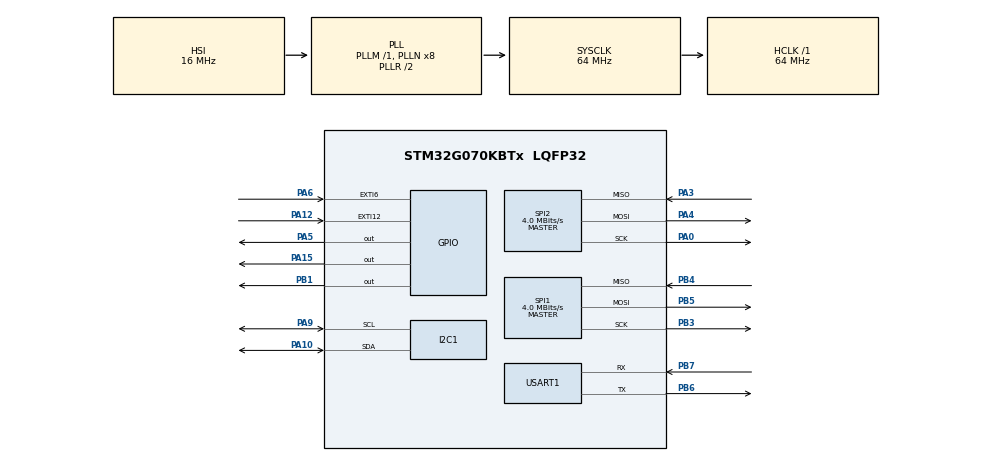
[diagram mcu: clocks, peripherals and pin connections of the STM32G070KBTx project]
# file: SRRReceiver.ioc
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I2C1.OwnAddress=0x20
I2C1.Timing=0x10707DBC
Mcu.Family=STM32G0
Mcu.Name=STM32G070KBTx
Mcu.Package=LQFP32
NVIC.EXTI4_15_IRQn=true\:0\:0\:false\:false\:true\:true\:true\:false
NVIC.I2C1_IRQn=true\:0\:0\:false\:false\:true\:true\:true\:true
PA0.Mode=Full_Duplex_Master
PA0.Signal=SPI2_SCK
PA10.Mode=I2C
PA10.Signal=I2C1_SDA
PA12\ [PA10].GPIO_ModeDefaultEXTI=GPIO_MODE_IT_FALLING
PA12\ [PA10].GPIO_PuPd=GPIO_PULLUP
PA12\ [PA10].Signal=GPXTI12
PA13.Mode=Serial_Wire
PA13.Signal=SYS_SWDIO
PA14-BOOT0.Mode=Serial_Wire
PA14-BOOT0.Signal=SYS_SWCLK
PA15.PinState=GPIO_PIN_SET
PA15.Signal=GPIO_Output
PA3.Mode=Full_Duplex_Master
PA3.Signal=SPI2_MISO
PA4.Mode=Full_Duplex_Master
PA4.Signal=SPI2_MOSI
PA5.PinState=GPIO_PIN_SET
PA5.Signal=GPIO_Output
PA6.GPIO_ModeDefaultEXTI=GPIO_MODE_IT_FALLING
PA6.GPIO_PuPd=GPIO_PULLUP
PA6.Signal=GPXTI6
PA9.Mode=I2C
PA9.Signal=I2C1_SCL
PB1.Signal=GPIO_Output
PB3.Mode=Full_Duplex_Master
PB3.Signal=SPI1_SCK
PB4.Mode=Full_Duplex_Master
PB4.Signal=SPI1_MISO
PB5.Mode=Full_Duplex_Master
PB5.Signal=SPI1_MOSI
PB6.Mode=Asynchronous
PB6.Signal=USART1_TX
PB7.Mode=Asynchronous
PB7.Signal=USART1_RX
ProjectManager.HeapSize=0x200
ProjectManager.StackSize=0x400
ProjectManager.TargetToolchain=STM32CubeIDE
RCC.ADCFreq_Value=64000000
RCC.AHBFreq_Value=64000000
RCC.CortexFreq_Value=64000000
RCC.EXTERNAL_CLOCK_VALUE=48000
RCC.HCLKFreq_Value=64000000
RCC.HSE_VALUE=8000000
RCC.HSI_VALUE=16000000
RCC.LSE_VALUE=32768
RCC.SYSCLKFreq_VALUE=64000000
RCC.SYSCLKSource=RCC_SYSCLKSOURCE_PLLCLK
RCC.VCOOutputFreq_Value=128000000
SPI1.BaudRatePrescaler=SPI_BAUDRATEPRESCALER_16
SPI1.CalculateBaudRate=4.0 MBits/s
SPI1.DataSize=SPI_DATASIZE_8BIT
SPI1.Direction=SPI_DIRECTION_2LINES
SPI1.Mode=SPI_MODE_MASTER
SPI1.VirtualType=VM_MASTER
SPI2.BaudRatePrescaler=SPI_BAUDRATEPRESCALER_16
SPI2.CalculateBaudRate=4.0 MBits/s
SPI2.DataSize=SPI_DATASIZE_8BIT
SPI2.Direction=SPI_DIRECTION_2LINES
SPI2.Mode=SPI_MODE_MASTER
SPI2.VirtualType=VM_MASTER
USART1.VirtualMode-Asynchronous=VM_ASYNC
board=custom

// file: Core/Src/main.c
/* USER CODE BEGIN Header */
/**
  ******************************************************************************
  * @file           : main.c
  * @brief          : Main program body
  ******************************************************************************
  * @attention
  *
  * Copyright (c) 2023 STMicroelectronics.
  * All rights reserved.
  *
  * This software is licensed under terms that can be found in the LICENSE file
  * in the root directory of this software component.
  * If no LICENSE file comes with this software, it is provided AS-IS.
  *
  ******************************************************************************
  ******************************************************************************
  */
/* USER CODE END Header */
#include "main.h"

/* USER CODE BEGIN Includes */
#include "CC2500.h"
#include <stdbool.h>
#include "I2CSlave.h"
#include <string.h>
#include "ErrorLog.h"
#include "Radio.h"

//#define COUNTOF(__BUFFER__)   (sizeof(__BUFFER__) / sizeof(*(__BUFFER__)))

/* USER CODE END Includes */

I2C_HandleTypeDef hi2c1;

SPI_HandleTypeDef hspi1;
SPI_HandleTypeDef hspi2;

UART_HandleTypeDef huart1;

/* USER CODE BEGIN PV */
bool volatile isInitialized = false;
/* USER CODE END PV */

void SystemClock_Config(void);
static void MX_GPIO_Init(void);
static void MX_USART1_UART_Init(void);
static void MX_I2C1_Init(void);
static void MX_SPI1_Init(void);
static void MX_SPI2_Init(void);
/* USER CODE BEGIN PFP */
static bool EnableI2CListen(void);
/* USER CODE END PFP */

int main(void)
{

  /* MCU Configuration--------------------------------------------------------*/

  /* Reset of all peripherals, Initializes the Flash interface and the Systick. */
  HAL_Init();

  /* Configure the system clock */
  SystemClock_Config();

  /* Initialize all configured peripherals */
  MX_GPIO_Init();
  MX_USART1_UART_Init();
  MX_I2C1_Init();
  MX_SPI1_Init();
  MX_SPI2_Init();
  /* USER CODE BEGIN 2 */

  /* Log the reset cause at boot so a reset storm (Error_Handler ->
   * HAL_NVIC_SystemReset) can be told apart from a normal power-on. Sent to the
   * UART unconditionally (terminal) and stored via ErrorLog_log (I2C). */
  /*{
    const char * cause;
    if      (RCC->CSR & RCC_CSR_SFTRSTF)  cause = "SOFTWARE reset";
    else if (RCC->CSR & RCC_CSR_PINRSTF)  cause = "PIN reset";
    else if (RCC->CSR & RCC_CSR_IWDGRSTF) cause = "IWDG reset";
    else if (RCC->CSR & RCC_CSR_WWDGRSTF) cause = "WWDG reset";
    else if (RCC->CSR & RCC_CSR_OBLRSTF)  cause = "Option-byte reset";
    else if (RCC->CSR & RCC_CSR_LPWRRSTF) cause = "Low-power reset";
    else                                  cause = "POR/BOR (power-on)";
    char rstMsg[64];
    sprintf(rstMsg, "Boot cause: %s (CSR=0x%08lX)\r\n", cause, (unsigned long)RCC->CSR);
    HAL_UART_Transmit(&huart1, (uint8_t *)rstMsg, strlen(rstMsg), 100);
    ErrorLog_log("boot", rstMsg);
    __HAL_RCC_CLEAR_RESET_FLAGS();
  }
  */

  HAL_GPIO_WritePin(GPIOA, RedChannelChipSelectPortPin.GPIO_Pin, GPIO_PIN_SET);
  HAL_GPIO_WritePin(GPIOA, BlueChannelChipSelectPortPin.GPIO_Pin, GPIO_PIN_SET);

  // Configure both the RED and BLUE Channel chip.
  InitializeBothCC2500();
  HAL_GPIO_WritePin(GPIOA, RedChannelChipSelectPortPin.GPIO_Pin, GPIO_PIN_SET);
  HAL_GPIO_WritePin(GPIOA, BlueChannelChipSelectPortPin.GPIO_Pin, GPIO_PIN_SET);

  // Make sure the IRQ to the NanoPi is not asserted
  IRQLineHandler_ClearErrorMessagesExist();
  IRQLineHandler_ClearPunchesExist();
  HAL_Delay(1);

  if (!EnableI2CListen())
  {
	  // Tried multiple times
	  HAL_I2C_DeInit(&hi2c1);
	  HAL_I2C_Init(&hi2c1);
	  if (!EnableI2CListen())
	  {
		  HAL_NVIC_SystemReset();
	  }
  }

  // Only BLUE channel enabled
  I2CSlave_hardwareFeaturesEnableDisable = 0x02;
  /* PA6 PA12 is interrupt from CC2500
   * To avoid them being triggered too early,
   * before it has been configured we enable irq here
   * (by default a clock is on these CC2500 pins)
   * instead of in MX_GPIO_Init() */
  HAL_NVIC_EnableIRQ(EXTI4_15_IRQn);
  //HAL_Delay(1);
  //HAL_NVIC_DisableIRQ(EXTI4_15_IRQn); // for testing if we can get i2c working again
  isInitialized = true;

  /* USER CODE END 2 */

  /* Infinite loop */
  /* USER CODE BEGIN WHILE */
  while (1)
  {

	  // You can try to reset the peripheral to see if it frees up. You can reset the peripheral with the I2C_CR1_SWRST bit.
	  if (hi2c1.State == HAL_I2C_STATE_READY) {
		  if (!EnableI2CListen())
		  {
			  ErrorLog_log("main","reconfig i2c");
			  HAL_I2C_DeInit(&hi2c1);
			  HAL_I2C_Init(&hi2c1);
			  if (!EnableI2CListen())
			  {
				  HAL_NVIC_SystemReset();
			  }
		  }
	  }

	  // Check if red chip is hanging with interrupt high
	  GPIO_PinState redInt = HAL_GPIO_ReadPin(GPIOA, GPIO_PIN_12);
	  if (!IsTestSignalModeActive() && redInt == GPIO_PIN_SET && RedChannelSyncWordInterrupt)
	  {
		  // Sync word detected, wait enough time to receive the message
		  RedChannelSyncWordDetected = true;
	      HAL_Delay(10);
	      if (RedChannelSyncWordDetected)
	      {
	    	  // The falling interrupt has not happened, something is amiss
	    	  // Need to disable interrupt because FlushRXFifo will use SPI
	    	   // and can't interupt write/read SPI (will result in HAL_BUSY)
	    	  HAL_NVIC_DisableIRQ(EXTI4_15_IRQn);
	    	  CC2500_FlushRXFIFO(&hspi1, &RedChannelChipSelectPortPin);
	    	  HAL_NVIC_EnableIRQ(EXTI4_15_IRQn);
	    	  RedChannelSyncWordDetected = false;
	    	  ErrorLog_log("main", "Stuck interrupt red channel");
	      }
	  }

	  GPIO_PinState blueInt = HAL_GPIO_ReadPin(GPIOA, GPIO_PIN_6);
	  if (!IsTestSignalModeActive() && blueInt == GPIO_PIN_SET && BlueChannelSyncWordInterrupt)
	  {
		  // Sync word detected, wait enough time to receive the message
		  BlueChannelSyncWordDetected = true;
		  HAL_Delay(10);
		  if (BlueChannelSyncWordDetected)
		  {
			  // The falling interrupt has not happened, something is amiss
			  // Need to disable interrupt because FlushRXFifo will use SPI
			  // and can't interupt write/read SPI (will result in HAL_BUSY)
			  HAL_NVIC_DisableIRQ(EXTI4_15_IRQn);
			  CC2500_FlushRXFIFO(&hspi2, &BlueChannelChipSelectPortPin);
			  HAL_NVIC_EnableIRQ(EXTI4_15_IRQn);
			  BlueChannelSyncWordDetected = false;
			  ErrorLog_log("main", "Stuck interrupt blue channel");
		  }
	  }

	  if (HasChannelConfigurationChanged())
	  {
		  ErrorLog_log("main","config changed012345678901234567890");
		  isInitialized = false;
		  ReconfigureCC2500();
		  ClearHasChannelConfigurationChanged();
		  HAL_Delay(1);
		  isInitialized = true;
	  }

	  ProcessOutgoingPunches();

#ifdef TEST_MODES_ENABLED
	  ProcessTestModes();
#endif

	  // Sleep until next interrupt (SysTick at 1ms, I2C, or EXTI)
	  // Saves ~20 mA vs active spin-waiting
	  __WFI();

    /* USER CODE END WHILE */

  }
}

void SystemClock_Config(void)
{
  RCC_OscInitTypeDef RCC_OscInitStruct = {0};
  RCC_ClkInitTypeDef RCC_ClkInitStruct = {0};

  /** Configure the main internal regulator output voltage
  */
  HAL_PWREx_ControlVoltageScaling(PWR_REGULATOR_VOLTAGE_SCALE1);

  /** Initializes the RCC Oscillators according to the specified parameters
  * in the RCC_OscInitTypeDef structure.
  */
  RCC_OscInitStruct.OscillatorType = RCC_OSCILLATORTYPE_HSI;
  RCC_OscInitStruct.HSIState = RCC_HSI_ON;
  RCC_OscInitStruct.HSIDiv = RCC_HSI_DIV1;
  RCC_OscInitStruct.HSICalibrationValue = RCC_HSICALIBRATION_DEFAULT;
  RCC_OscInitStruct.PLL.PLLState = RCC_PLL_ON;
  RCC_OscInitStruct.PLL.PLLSource = RCC_PLLSOURCE_HSI;
  RCC_OscInitStruct.PLL.PLLM = RCC_PLLM_DIV1;
  RCC_OscInitStruct.PLL.PLLN = 8;
  RCC_OscInitStruct.PLL.PLLP = RCC_PLLP_DIV2;
  RCC_OscInitStruct.PLL.PLLR = RCC_PLLR_DIV2;
  if (HAL_RCC_OscConfig(&RCC_OscInitStruct) != HAL_OK)
  {
    Error_Handler();
  }

  /** Initializes the CPU, AHB and APB buses clocks
  */
  RCC_ClkInitStruct.ClockType = RCC_CLOCKTYPE_HCLK|RCC_CLOCKTYPE_SYSCLK
                              |RCC_CLOCKTYPE_PCLK1;
  RCC_ClkInitStruct.SYSCLKSource = RCC_SYSCLKSOURCE_PLLCLK;
  RCC_ClkInitStruct.AHBCLKDivider = RCC_SYSCLK_DIV1;
  RCC_ClkInitStruct.APB1CLKDivider = RCC_HCLK_DIV1;

  if (HAL_RCC_ClockConfig(&RCC_ClkInitStruct, FLASH_LATENCY_2) != HAL_OK)
  {
    Error_Handler();
  }
}

static void MX_I2C1_Init(void)
{

  hi2c1.Instance = I2C1;
  hi2c1.Init.Timing = 0x10707DBC;
  hi2c1.Init.OwnAddress1 = 64;
  hi2c1.Init.AddressingMode = I2C_ADDRESSINGMODE_7BIT;
  hi2c1.Init.DualAddressMode = I2C_DUALADDRESS_DISABLE;
  hi2c1.Init.OwnAddress2 = 0;
  hi2c1.Init.OwnAddress2Masks = I2C_OA2_NOMASK;
  hi2c1.Init.GeneralCallMode = I2C_GENERALCALL_DISABLE;
  hi2c1.Init.NoStretchMode = I2C_NOSTRETCH_DISABLE;
  if (HAL_I2C_Init(&hi2c1) != HAL_OK)
  {
    Error_Handler();
  }

  /** Configure Analogue filter
  */
  if (HAL_I2CEx_ConfigAnalogFilter(&hi2c1, I2C_ANALOGFILTER_ENABLE) != HAL_OK)
  {
    Error_Handler();
  }

  /** Configure Digital filter
  */
  if (HAL_I2CEx_ConfigDigitalFilter(&hi2c1, 0) != HAL_OK)
  {
    Error_Handler();
  }

}

static void MX_SPI1_Init(void)
{

  /* SPI1 parameter configuration*/
  hspi1.Instance = SPI1;
  hspi1.Init.Mode = SPI_MODE_MASTER;
  hspi1.Init.Direction = SPI_DIRECTION_2LINES;
  hspi1.Init.DataSize = SPI_DATASIZE_8BIT;
  hspi1.Init.CLKPolarity = SPI_POLARITY_LOW;
  hspi1.Init.CLKPhase = SPI_PHASE_1EDGE;
  hspi1.Init.NSS = SPI_NSS_SOFT;
  hspi1.Init.BaudRatePrescaler = SPI_BAUDRATEPRESCALER_16;
  hspi1.Init.FirstBit = SPI_FIRSTBIT_MSB;
  hspi1.Init.TIMode = SPI_TIMODE_DISABLE;
  hspi1.Init.CRCCalculation = SPI_CRCCALCULATION_DISABLE;
  hspi1.Init.CRCPolynomial = 7;
  hspi1.Init.CRCLength = SPI_CRC_LENGTH_DATASIZE;
  hspi1.Init.NSSPMode = SPI_NSS_PULSE_ENABLE;
  if (HAL_SPI_Init(&hspi1) != HAL_OK)
  {
    Error_Handler();
  }

}

static void MX_SPI2_Init(void)
{

  /* SPI2 parameter configuration*/
  hspi2.Instance = SPI2;
  hspi2.Init.Mode = SPI_MODE_MASTER;
  hspi2.Init.Direction = SPI_DIRECTION_2LINES;
  hspi2.Init.DataSize = SPI_DATASIZE_8BIT;
  hspi2.Init.CLKPolarity = SPI_POLARITY_LOW;
  hspi2.Init.CLKPhase = SPI_PHASE_1EDGE;
  hspi2.Init.NSS = SPI_NSS_SOFT;
  hspi2.Init.BaudRatePrescaler = SPI_BAUDRATEPRESCALER_16;
  hspi2.Init.FirstBit = SPI_FIRSTBIT_MSB;
  hspi2.Init.TIMode = SPI_TIMODE_DISABLE;
  hspi2.Init.CRCCalculation = SPI_CRCCALCULATION_DISABLE;
  hspi2.Init.CRCPolynomial = 7;
  hspi2.Init.CRCLength = SPI_CRC_LENGTH_DATASIZE;
  hspi2.Init.NSSPMode = SPI_NSS_PULSE_ENABLE;
  if (HAL_SPI_Init(&hspi2) != HAL_OK)
  {
    Error_Handler();
  }

}

static void MX_USART1_UART_Init(void)
{

  huart1.Instance = USART1;
  huart1.Init.BaudRate = 115200;
  huart1.Init.WordLength = UART_WORDLENGTH_8B;
  huart1.Init.StopBits = UART_STOPBITS_1;
  huart1.Init.Parity = UART_PARITY_NONE;
  huart1.Init.Mode = UART_MODE_TX_RX;
  huart1.Init.HwFlowCtl = UART_HWCONTROL_NONE;
  huart1.Init.OverSampling = UART_OVERSAMPLING_16;
  huart1.Init.OneBitSampling = UART_ONE_BIT_SAMPLE_DISABLE;
  huart1.Init.ClockPrescaler = UART_PRESCALER_DIV1;
  huart1.AdvancedInit.AdvFeatureInit = UART_ADVFEATURE_NO_INIT;
  if (HAL_UART_Init(&huart1) != HAL_OK)
  {
    Error_Handler();
  }
  if (HAL_UARTEx_SetTxFifoThreshold(&huart1, UART_TXFIFO_THRESHOLD_1_8) != HAL_OK)
  {
    Error_Handler();
  }
  if (HAL_UARTEx_SetRxFifoThreshold(&huart1, UART_RXFIFO_THRESHOLD_1_8) != HAL_OK)
  {
    Error_Handler();
  }
  if (HAL_UARTEx_DisableFifoMode(&huart1) != HAL_OK)
  {
    Error_Handler();
  }
  /* USER CODE BEGIN USART1_Init 2 */
  char msg[] = "UART1 Started\r\n";
  HAL_UART_Transmit(&huart1, (uint8_t *)msg, strlen(msg), HAL_MAX_DELAY);
  ErrorLog_SetUARTInitialized(&huart1, true);

  /* USER CODE END USART1_Init 2 */

}

static void MX_GPIO_Init(void)
{
  GPIO_InitTypeDef GPIO_InitStruct = {0};

  /* GPIO Ports Clock Enable */
  __HAL_RCC_GPIOB_CLK_ENABLE();
  __HAL_RCC_GPIOC_CLK_ENABLE();
  __HAL_RCC_GPIOA_CLK_ENABLE();

  /*Configure GPIO pin Output Level */
  HAL_GPIO_WritePin(GPIOA, GPIO_PIN_5|GPIO_PIN_15, GPIO_PIN_SET);

  /*Configure GPIO pin Output Level */
  HAL_GPIO_WritePin(GPIOB, GPIO_PIN_1, GPIO_PIN_RESET);

  /*Configure GPIO pins : PB9 PB0 PB2 PB8 */
  GPIO_InitStruct.Pin = GPIO_PIN_9|GPIO_PIN_0|GPIO_PIN_2|GPIO_PIN_8;
  GPIO_InitStruct.Mode = GPIO_MODE_ANALOG;
  GPIO_InitStruct.Pull = GPIO_NOPULL;
  HAL_GPIO_Init(GPIOB, &GPIO_InitStruct);

  /*Configure GPIO pins : PC14 PC15 PC6 */
  GPIO_InitStruct.Pin = GPIO_PIN_14|GPIO_PIN_15|GPIO_PIN_6;
  GPIO_InitStruct.Mode = GPIO_MODE_ANALOG;
  GPIO_InitStruct.Pull = GPIO_NOPULL;
  HAL_GPIO_Init(GPIOC, &GPIO_InitStruct);

  /*Configure GPIO pins : PA1 PA2 PA7 PA8
                           PA11 */
  GPIO_InitStruct.Pin = GPIO_PIN_1|GPIO_PIN_2|GPIO_PIN_7|GPIO_PIN_8
                          |GPIO_PIN_11;
  GPIO_InitStruct.Mode = GPIO_MODE_ANALOG;
  GPIO_InitStruct.Pull = GPIO_NOPULL;
  HAL_GPIO_Init(GPIOA, &GPIO_InitStruct);

  /*Configure GPIO pins : PA5 PA15 */
  GPIO_InitStruct.Pin = GPIO_PIN_5|GPIO_PIN_15;
  GPIO_InitStruct.Mode = GPIO_MODE_OUTPUT_PP;
  GPIO_InitStruct.Pull = GPIO_NOPULL;
  GPIO_InitStruct.Speed = GPIO_SPEED_FREQ_LOW;
  HAL_GPIO_Init(GPIOA, &GPIO_InitStruct);

  /*Configure GPIO pins : PA6 PA12 */
  GPIO_InitStruct.Pin = GPIO_PIN_6|GPIO_PIN_12;
  GPIO_InitStruct.Mode = GPIO_MODE_IT_FALLING;
  GPIO_InitStruct.Pull = GPIO_PULLUP;
  HAL_GPIO_Init(GPIOA, &GPIO_InitStruct);

  /*Configure GPIO pin : PB1 */
  GPIO_InitStruct.Pin = GPIO_PIN_1;
  GPIO_InitStruct.Mode = GPIO_MODE_OUTPUT_PP;
  GPIO_InitStruct.Pull = GPIO_NOPULL;
  GPIO_InitStruct.Speed = GPIO_SPEED_FREQ_LOW;
  HAL_GPIO_Init(GPIOB, &GPIO_InitStruct);

  /* EXTI interrupt init*/
  HAL_NVIC_SetPriority(EXTI4_15_IRQn, 0, 0);

}

/* USER CODE BEGIN 4 */
void InitI2C()
{
	MX_I2C1_Init();
}

static bool EnableI2CListen()
{
	if (hi2c1.State == HAL_I2C_STATE_LISTEN)
	{
		return true;
	}
	uint16_t noOfTries = 0;
	do
	{
		HAL_Delay(1);
		uint8_t retStatus;
		if((retStatus = HAL_I2C_EnableListen_IT(&hi2c1)) != HAL_OK)
		{
			char msg[60];
			sprintf(msg, "HAL_I2C_EnableListen_IT ret: %u hi2c1->State: %u", retStatus, hi2c1.State);
			ErrorLog_log("EnableI2CListen", msg);

			noOfTries++;
			if (noOfTries == 100)
			{
				return false;
			}
		}
	} while (hi2c1.State != HAL_I2C_STATE_LISTEN);
	return true;
}

/* USER CODE END 4 */

void Error_Handler(void)
{
  /* USER CODE BEGIN Error_Handler_Debug */
	/* User can add his own implementation to report the HAL error return state */
	//do {
	//}while (1);

	//__disable_irq();
	char msg[100];
	sprintf(msg, "FILE: %s LINE: %u\r\n", file, line);
	ErrorLog_log("_Error_Hanler", msg);

	// don't use hal_delay in interrupt
	for (volatile uint8_t i=0; i!=0xFF; i++);
	for (volatile uint8_t i=0; i!=0xFF; i++);
	for (volatile uint8_t i=0; i!=0xFF; i++);

	HAL_NVIC_SystemReset();
  /* USER CODE END Error_Handler_Debug */
}
